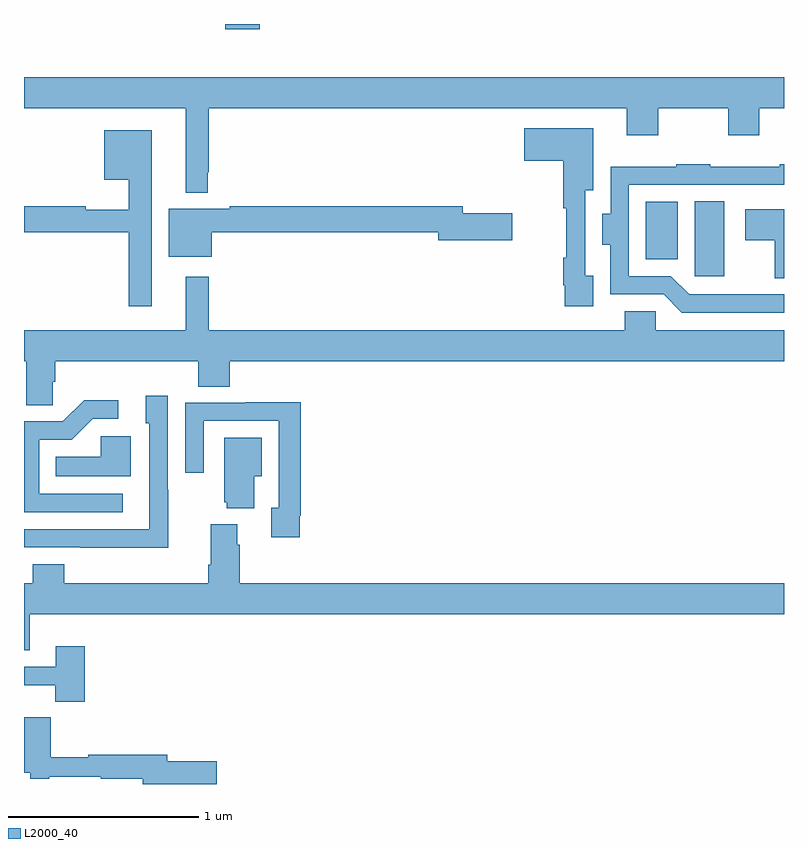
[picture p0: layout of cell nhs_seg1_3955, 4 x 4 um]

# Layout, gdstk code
import gdstk
lib = gdstk.Library(unit=1e-6, precision=1e-09)
def R(c, l, rs):  # rectangles x0, y0, x1, y1
    for r in rs: c.add(gdstk.rectangle(r[:2], r[2:], *l))
def P(c, l, *ps):  # polygons
    for p in ps: c.add(gdstk.Polygon(p, *l))
L2000_40 = (2000, 40)

nhs_seg1_3955 = lib.new_cell('nhs_seg1_3955')
R(nhs_seg1_3955, L2000_40, [(330.53,526.871,330.685,527.267), (330.272,526.961,330.442,527.263), (328.058,528.171,328.241,528.199)])
P(nhs_seg1_3955, L2000_40, [(327.966,527.419),(327.973,527.419),(327.973,527.756),(330.173,527.756),(330.173,527.613),(330.337,527.613),(330.337,527.756),(330.707,527.756),(330.707,527.613),(330.871,527.613),(330.871,527.756),(331,527.756),(331,527.92),(327,527.92),(327,527.756),(327.851,527.756),(327.851,527.312),(327.966,527.312)],
  [(329.995,526.873),(329.955,526.873),(329.955,527.324),(329.995,527.324),(329.995,527.65),(329.634,527.65),(329.634,527.48),(329.839,527.48),(329.839,527.228),(329.854,527.228),(329.854,526.969),(329.839,526.969),(329.839,526.825),(329.847,526.825),(329.847,526.713),(329.995,526.713)],
  [(327.673,527.641),(327.422,527.641),(327.422,527.378),(327.552,527.378),(327.552,527.221),(327.326,527.221),(327.326,527.24),(327,527.24),(327,527.104),(327.552,527.104),(327.552,526.713),(327.673,526.713)],
  [(331,526.776),(330.501,526.776),(330.405,526.872),(330.183,526.872),(330.183,527.352),(331,527.352),(331,527.461),(330.977,527.461),(330.977,527.449),(330.611,527.449),(330.611,527.461),(330.433,527.461),(330.433,527.449),(330.087,527.449),(330.087,527.2),(330.044,527.2),(330.044,527.036),(330.086,527.036),(330.086,526.776),(330.366,526.776),(330.462,526.68),(331,526.68)],
  [(327.988,527.104),(329.18,527.104),(329.18,527.062),(329.569,527.062),(329.569,527.204),(329.308,527.204),(329.308,527.24),(328.084,527.24),(328.084,527.227),(327.761,527.227),(327.761,526.973),(327.988,526.973)],
  [(331,527.224),(330.795,527.224),(330.795,527.06),(330.95,527.06),(330.95,526.861),(331,526.861)],
  [(327.15,526.315),(327.164,526.315),(327.164,526.424),(327.917,526.424),(327.917,526.291),(328.082,526.291),(328.082,526.424),(331,526.424),(331,526.588),(330.324,526.588),(330.324,526.686),(330.161,526.686),(330.161,526.588),(327.973,526.588),(327.973,526.87),(327.851,526.87),(327.851,526.588),(327,526.588),(327,526.424),(327.011,526.424),(327.011,526.192),(327.15,526.192)],
  [(327.759,525.749),(327.756,525.749),(327.756,526.243),(327.641,526.243),(327.641,526.098),(327.66,526.098),(327.66,525.794),(327.659,525.794),(327.659,525.54),(327,525.54),(327,525.444),(327.295,525.444),(327.295,525.443),(327.759,525.443)],
  [(327.52,525.726),(327.081,525.726),(327.081,526.011),(327.25,526.011),(327.361,526.122),(327.496,526.122),(327.496,526.22),(327.317,526.22),(327.204,526.107),(327,526.107),(327,525.63),(327.52,525.63)],
  [(328.45,525.61),(328.457,525.61),(328.457,526.208),(328.165,526.208),(328.165,526.206),(327.849,526.206),(327.849,525.837),(327.945,525.837),(327.945,526.11),(328.341,526.11),(328.341,525.654),(328.301,525.654),(328.301,525.498),(328.45,525.498)],
  [(327.562,526.03),(327.405,526.03),(327.405,525.922),(327.166,525.922),(327.166,525.818),(327.562,525.818)],
  [(328.213,525.818),(328.252,525.818),(328.252,526.021),(328.055,526.021),(328.055,525.681),(328.067,525.681),(328.067,525.65),(328.213,525.65)],
  [(327.031,525.092),(331,525.092),(331,525.256),(328.136,525.256),(328.136,525.458),(328.123,525.458),(328.123,525.565),(327.983,525.565),(327.983,525.352),(327.971,525.352),(327.971,525.256),(327.212,525.256),(327.212,525.355),(327.047,525.355),(327.047,525.256),(327,525.256),(327,524.902),(327.031,524.902)],
  [(327.32,524.923),(327.167,524.923),(327.167,524.817),(327,524.817),(327,524.72),(327.165,524.72),(327.165,524.633),(327.32,524.633)],
  [(328.015,524.318),(327.754,524.318),(327.754,524.354),(327.338,524.354),(327.338,524.339),(327.14,524.339),(327.14,524.551),(327,524.551),(327,524.258),(327.033,524.258),(327.033,524.226),(327.133,524.226),(327.133,524.238),(327.403,524.238),(327.403,524.226),(327.626,524.226),(327.626,524.199),(328.015,524.199)])

lib.write_gds('nhs_seg1_3955.gds')
